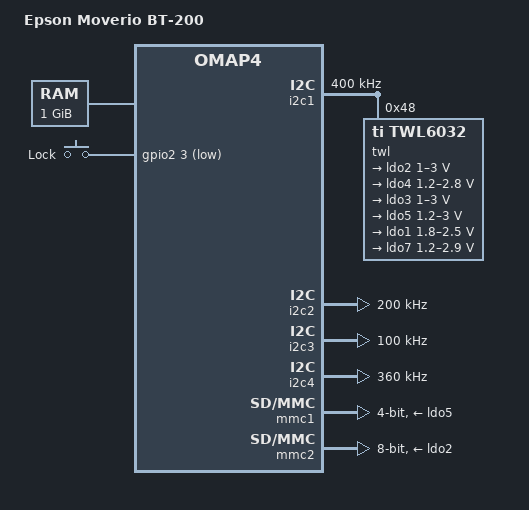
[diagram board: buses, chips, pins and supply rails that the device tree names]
// SPDX-License-Identifier: GPL-2.0-only
/*
 * Copyright (C) 2022 Andreas Kemnade
 */
/dts-v1/;

#include <dt-bindings/input/input.h>
#include "omap4460.dtsi"

/ {
	model = "Epson Moverio BT-200";
	compatible = "epson,embt2ws", "ti,omap4460", "ti,omap4430", "ti,omap4";
		
	memory@80000000 {
                device_type = "memory";
                reg = <0x80000000 0x40000000>; /* 1024M */
        };

        chosen {
                stdout-path = &uart3;
        };

	gpio-keys {
		compatible = "gpio-keys";
		pinctrl-names = "default";
		pinctrl-0 = <&gpio_keys_pins>;

		key-lock {
			label = "Lock";
			gpios = <&gpio2 3 GPIO_ACTIVE_LOW>;
			linux,code = <SW_ROTATE_LOCK>; /* SW_TOUCHPAD_LOCK */
			linux,input-type = <EV_SW>;
		};
	};
};

&omap4_pmx_core {
	gpio_keys_pins: pinmux-gpio-key-pins {
		pinctrl-single,pins = <
			OMAP4_IOPAD(0x56, PIN_INPUT_PULLUP | MUX_MODE3) /* gpio35 */
		>;
	};

	i2c1_pins: pinmux_i2c1_pins {
		pinctrl-single,pins = <
			   OMAP4_IOPAD(0x122, PIN_INPUT_PULLUP | MUX_MODE0)	/* i2c1_scl */
			   OMAP4_IOPAD(0x124, PIN_INPUT_PULLUP | MUX_MODE0)	/* i2c1_sda */
		>;
	};

	i2c2_pins: pinmux_i2c2_pins {
		pinctrl-single,pins = <
			OMAP4_IOPAD(0x126, PIN_INPUT | MUX_MODE0)	/* i2c2_scl */
			OMAP4_IOPAD(0x128, PIN_INPUT | MUX_MODE0)	/* i2c2_sda */
		>;
	};

	i2c3_pins: pinmux_i2c3_pins {
		pinctrl-single,pins = <
			OMAP4_IOPAD(0x12a, PIN_INPUT | MUX_MODE0)	/* i2c3_scl */
			OMAP4_IOPAD(0x12c, PIN_INPUT | MUX_MODE0)	/* i2c3_sda */
		>;
	};

	i2c4_pins: pinmux_i2c4_pins {
		pinctrl-single,pins = <
			OMAP4_IOPAD(0x12e, PIN_INPUT | MUX_MODE0)	/* i2c4_scl */
			OMAP4_IOPAD(0x130, PIN_INPUT | MUX_MODE0)	/* i2c4_sda */
		>;
	};

        uart2_pins: pinmux_uart2_pins {
                pinctrl-single,pins = <
                        OMAP4_IOPAD(0x118, PIN_INPUT_PULLUP | MUX_MODE0)  /* uart2_cts.uart2_cts */
                        OMAP4_IOPAD(0x11a, PIN_OUTPUT | MUX_MODE0)              /* uart2_rts.uart2_rts */
                        OMAP4_IOPAD(0x11c, PIN_INPUT_PULLUP | MUX_MODE0)        /* uart2_rx.uart2_rx */
                        OMAP4_IOPAD(0x11e, PIN_OUTPUT | MUX_MODE0)              /* uart2_tx.uart2_tx */
                >;
        };

	uart3_pins: pinmux_uart3_pins {
		    pinctrl-single,pins = <
			    OMAP4_IOPAD(0x144, PIN_INPUT | MUX_MODE0)               /* uart3_rx_irrx */
			    OMAP4_IOPAD(0x146, PIN_OUTPUT | MUX_MODE0)              /* uart3_tx_irtx */
			    >;
	    };

	usb_otg_hs_pins: pinmux_usb_otg_hs_pins {
			 pinctrl-single,pins = <
				 OMAP4_IOPAD(0x194, PIN_OUTPUT_PULLDOWN | MUX_MODE0)     /* usba0_otg_ce */
				 OMAP4_IOPAD(0x196, PIN_INPUT | MUX_MODE0)               /* usba0_otg_dp */
				 OMAP4_IOPAD(0x198, PIN_INPUT | MUX_MODE0)               /* usba0_otg_dm */
				 >;
		 };
};

&i2c1 {
	pinctrl-names = "default";
	pinctrl-0 = <&i2c1_pins>;

	clock-frequency = <400000>;

	twl: pmic@48 {
		compatible = "ti,twl6032";
		reg = <0x48>;
		/* IRQ# = 7 */
		interrupts = <GIC_SPI 7 IRQ_TYPE_LEVEL_HIGH>; /* IRQ_SYS_1N cascaded to gic */
		interrupt-controller;
		#interrupt-cells = <1>;

		rtc {
			compatible = "ti,twl4030-rtc";
			interrupts = <11>;
		};

		ldo2: regulator-ldo2 {
			compatible = "ti,twl6032-ldo2";
			regulator-min-microvolt = <1000000>;
			regulator-max-microvolt = <3000000>;
		};

		ldo4: regulator-ldo4 {
			compatible = "ti,twl6032-ldo4";
			regulator-min-microvolt = <1200000>;
			regulator-max-microvolt = <2800000>;
		};

		ldo3: regulator-ldo3 {
			compatible = "ti,twl6032-ldo3";
			regulator-min-microvolt = <1000000>;
			regulator-max-microvolt = <3000000>;
		};

		ldo5: regulator-ldo5 {
			compatible = "ti,twl6032-ldo5";
			regulator-min-microvolt = <1200000>;
			regulator-max-microvolt = <3000000>;
		};

		ldo1: regulator-ldo1 {
			compatible = "ti,twl6032-ldo1";
			regulator-min-microvolt = <1800000>;
			regulator-max-microvolt = <2500000>;
		};

		ldo7: regulator-ldo7 {
			compatible = "ti,twl6032-ldo7";
			regulator-min-microvolt = <1200000>;
			regulator-max-microvolt = <2900000>;
		};

		ldoln: regulator-ldoln {
			compatible = "ti,twl6032-ldoln";
			regulator-always-on;
		};

		ldo6: regulator-ldo6 {
			compatible = "ti,twl6032-ldo6";
			regulator-always-on;
		};

		ldousb: regulator-ldousb {
			compatible = "ti,twl6032-ldousb";
			regulator-always-on;
		};

		vio: regulator-vio {
			compatible = "ti,twl6032-vio";
			regulator-always-on;
		};

		twl_usb_comparator: usb-comparator {
			compatible = "ti,twl6030-usb";
			interrupts = <4>, <10>;
		};

		twl_pwm: pwm {
			/* provides two PWMs (id 0, 1 for PWM1 and PWM2) */
			compatible = "ti,twl6030-pwm";
			#pwm-cells = <2>;
		};

		twl_pwmled: pwmled {
			/* provides one PWM (id 0 for Charging indicator LED) */
			compatible = "ti,twl6030-pwmled";
			#pwm-cells = <2>;
		};

		gpadc {
			compatible = "ti,twl6032-gpadc";
			interrupts = <3>;
			#io-channel-cells = <1>;
		};

	};
};

#include "twl6030_omap4.dtsi"

&twl_usb_comparator {
	usb-supply = <&ldousb>;
};


&i2c2 {
	pinctrl-names = "default";
	pinctrl-0 = <&i2c2_pins>;

	clock-frequency = <200000>;
};	

&i2c3 {
	pinctrl-names = "default";
	pinctrl-0 = <&i2c3_pins>;

	clock-frequency = <100000>;
};

&i2c4 {
	pinctrl-names = "default";
	pinctrl-0 = <&i2c4_pins>;

	clock-frequency = <360000>;
};


&mmc1 {
	/* sdcard */
	vmmc-supply = <&ldo5>;
	bus-width = <4>;
};

&mmc2 {
	/* emmc */
	vmmc-supply = <&ldo2>;
	bus-width = <8>;
};

&mmc3 {
	status = "disabled";
};

&mmc4 {
	status = "disabled";
};

&mmc5 {
	status = "disabled";
};

&uart3 {
	pinctrl-names = "default";
	pinctrl-0 = <&uart3_pins>;
	interrupts-extended = <&wakeupgen GIC_SPI 74 IRQ_TYPE_LEVEL_HIGH
			       &omap4_pmx_core OMAP4_UART3_RX>;
};

&usb_otg_hs {
	pinctrl-names = "default";
	pinctrl-0 = <&usb_otg_hs_pins>;

	interface-type = <1>;
	mode = <3>;
	power = <50>;
};

&usbhshost {
	status = "disabled";
};
